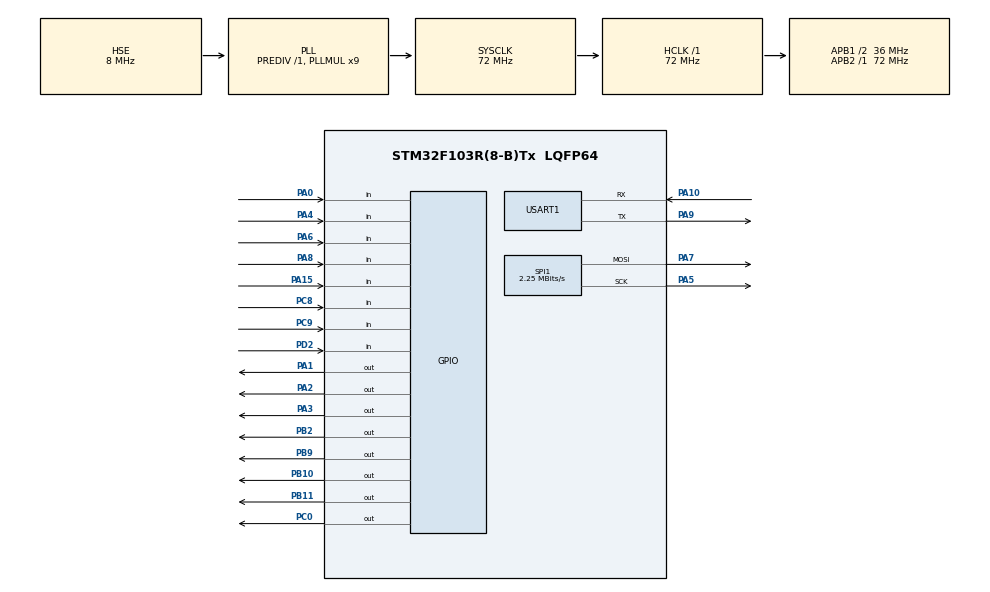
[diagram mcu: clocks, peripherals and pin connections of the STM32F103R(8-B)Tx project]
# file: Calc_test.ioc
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Dma.Request0=SPI1_TX
Dma.SPI1_TX.0.Direction=DMA_MEMORY_TO_PERIPH
Dma.SPI1_TX.0.Instance=DMA1_Channel3
Dma.SPI1_TX.0.MemDataAlignment=DMA_MDATAALIGN_BYTE
Dma.SPI1_TX.0.MemInc=DMA_MINC_ENABLE
Dma.SPI1_TX.0.Mode=DMA_NORMAL
Dma.SPI1_TX.0.PeriphDataAlignment=DMA_PDATAALIGN_BYTE
Dma.SPI1_TX.0.PeriphInc=DMA_PINC_DISABLE
Dma.SPI1_TX.0.Priority=DMA_PRIORITY_LOW
Mcu.Family=STM32F1
Mcu.Name=STM32F103R(8-B)Tx
Mcu.Package=LQFP64
NVIC.DMA1_Channel3_IRQn=true\:0\:0\:false\:false\:true\:false\:true\:true
NVIC.PriorityGroup=NVIC_PRIORITYGROUP_4
NVIC.USART1_IRQn=true\:0\:0\:false\:false\:true\:true\:true\:true
PA0-WKUP.GPIO_PuPd=GPIO_PULLDOWN
PA0-WKUP.Signal=GPIO_Input
PA1.PinState=GPIO_PIN_SET
PA1.Signal=GPIO_Output
PA10.Mode=Asynchronous
PA10.Signal=USART1_RX
PA13.Mode=Serial_Wire
PA13.Signal=SYS_JTMS-SWDIO
PA14.Mode=Serial_Wire
PA14.Signal=SYS_JTCK-SWCLK
PA15.GPIO_PuPd=GPIO_PULLUP
PA15.Signal=GPIO_Input
PA2.PinState=GPIO_PIN_SET
PA2.Signal=GPIO_Output
PA3.PinState=GPIO_PIN_SET
PA3.Signal=GPIO_Output
PA4.GPIO_PuPd=GPIO_PULLUP
PA4.Signal=GPIO_Input
PA5.Mode=TX_Only_Simplex_Unidirect_Master
PA5.Signal=SPI1_SCK
PA6.GPIO_PuPd=GPIO_PULLUP
PA6.Signal=GPIO_Input
PA7.Mode=TX_Only_Simplex_Unidirect_Master
PA7.Signal=SPI1_MOSI
PA8.GPIO_PuPd=GPIO_PULLUP
PA8.Signal=GPIO_Input
PA9.Mode=Asynchronous
PA9.Signal=USART1_TX
PB10.Signal=GPIO_Output
PB11.Signal=GPIO_Output
PB2.PinState=GPIO_PIN_SET
PB2.Signal=GPIO_Output
PB9.Signal=GPIO_Output
PC0.Signal=GPIO_Output
PC14-OSC32_IN.Mode=LSE-External-Oscillator
PC14-OSC32_IN.Signal=RCC_OSC32_IN
PC15-OSC32_OUT.Mode=LSE-External-Oscillator
PC15-OSC32_OUT.Signal=RCC_OSC32_OUT
PC8.GPIO_PuPd=GPIO_PULLUP
PC8.Signal=GPIO_Input
PC9.GPIO_PuPd=GPIO_PULLUP
PC9.Signal=GPIO_Input
PD0-OSC_IN.Mode=HSE-External-Oscillator
PD0-OSC_IN.Signal=RCC_OSC_IN
PD1-OSC_OUT.Mode=HSE-External-Oscillator
PD1-OSC_OUT.Signal=RCC_OSC_OUT
PD2.GPIO_PuPd=GPIO_PULLUP
PD2.Signal=GPIO_Input
ProjectManager.HeapSize=0x200
ProjectManager.StackSize=0x400
ProjectManager.TargetToolchain=MDK-ARM V5.32
RCC.AHBFreq_Value=72000000
RCC.APB1CLKDivider=RCC_HCLK_DIV2
RCC.APB1Freq_Value=36000000
RCC.APB1TimFreq_Value=72000000
RCC.APB2Freq_Value=72000000
RCC.APB2TimFreq_Value=72000000
RCC.HCLKFreq_Value=72000000
RCC.PLLMUL=RCC_PLL_MUL9
RCC.PLLSourceVirtual=RCC_PLLSOURCE_HSE
RCC.SYSCLKFreq_VALUE=72000000
RCC.SYSCLKSource=RCC_SYSCLKSOURCE_PLLCLK
RCC.USBFreq_Value=72000000
SPI1.BaudRatePrescaler=SPI_BAUDRATEPRESCALER_32
SPI1.CalculateBaudRate=2.25 MBits/s
SPI1.Direction=SPI_DIRECTION_2LINES
SPI1.Mode=SPI_MODE_MASTER
SPI1.VirtualType=VM_MASTER
USART1.VirtualMode=VM_ASYNC
board=custom

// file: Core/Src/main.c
/* USER CODE BEGIN Header */
/**
  ******************************************************************************
  * @file           : main.c
  * @brief          : Main program body
  ******************************************************************************
  * @attention
  *
  * Copyright (c) 2023 STMicroelectronics.
  * All rights reserved.
  *
  * This software is licensed under terms that can be found in the LICENSE file
  * in the root directory of this software component.
  * If no LICENSE file comes with this software, it is provided AS-IS.
  *
  ******************************************************************************
  */
/* USER CODE END Header */
#include "main.h"
#include "dma.h"
#include "spi.h"
#include "usart.h"
#include "gpio.h"

/* USER CODE BEGIN Includes */
//PA0-3:line of the keyboard
//PA4,6,8,15:lie of the keyboard
//PA5 SCK
//PA7 SDK
//PB10,11,12:RES,DC,CS
#include "calc.h"
#include "value.h"
#include "keyboard.h"
#include "oled.h"
#include "gui.h"
#include "u8g2.h"
#include "u8x8.h"
#include<stdbool.h>
//UART_HandleTypeDef huart1;

int x=0,x_trg=64,y=10,y_trg=10;
int f_len,f_len_trg,f_y=10,f_y_trg,f_x=0,f_x_trg,f_h,f_h_trg;
int ui_func_select=0;
int ui_menu_select=0;
int menu_x=0,menu_y=20,menu_x_trg=0,menu_y_trg=20;
int equa_x=0,equa_x_trg=64,equa_y=10,equa_y_trg=10;
int ui_equa_select=0;
int equa_2_select=0,equa_3_select=0,equa_4_select=0;
int ef_x=0,ef_y=10,ef_y_trg,ef_x_trg,ef_len,ef_len_trg,ef_h,ef_h_trg;
int idx=0;
int key_state=0;
int def_select=0;
List list[] = {
	{"sinx",4},
	{"cosx",4},
	{"tanx",4},
	{"arcsinx",7},
	{"arccosx",7},
	{"arctanx",7},
	{"log",3},
	{"ln",2},
	{"e^x",3},
	{"a^x",3},
};
Key key[2];
Key_msg key_msg;
int state=0;
Menu menu[5]={
	{"Calculation",11},
	{"Function",8},
	{"Equation",8},
	{"Complex",7},
	{"Definite",8}
};
List equalist[]={
{"quadratic",9},
{"cubic",5},
{"quartic",7},
{"solve",5}
};

#include <stdio.h>
/**
  * 函数功能: 重定向c库函数printf到DEBUG_USARTx
  * 输入参数: 无
  * 返 回 值: 无
  * 说    明：无
  */
int fputc(int ch, FILE *f)
{
  HAL_UART_Transmit(&huart1, (uint8_t *)&ch, 1, 0xffff);
  return ch;
}

/**
  * 函数功能: 重定向c库函数getchar,scanf到DEBUG_USARTx
  * 输入参数: 无
  * 返 回 值: 无
  * 说    明：无
  */
int fgetc(FILE *f)
{
  uint8_t ch = 0;
  HAL_UART_Receive(&huart1, &ch, 1, 0xffff);
  return ch;
}
#define RXBUFFERSIZE  256
char RxBuffer[RXBUFFERSIZE];
uint8_t aRxBuffer;
uint8_t Uart1_Rx_Cnt = 0;
/* USER CODE END Includes */

void SystemClock_Config(void);

int main(void)
{

  /* MCU Configuration--------------------------------------------------------*/

  /* Reset of all peripherals, Initializes the Flash interface and the Systick. */
  HAL_Init();

  /* Configure the system clock */
  SystemClock_Config();

  /* Initialize all configured peripherals */
  MX_GPIO_Init();
  MX_DMA_Init();
  MX_USART1_UART_Init();
  MX_SPI1_Init();
  /* USER CODE BEGIN 2 */
	//HAL_UART_Receive_IT(&huart1, (uint8_t *) &aRxBuffer, 1);
//char str[100];

	//char ch[100];
	printf("nmsl");
  //HAL_UART_Transmit(&huart1, (uint8_t *)"7",1,0xFFFF);
	//OLED_ShowNum(50,3,23,2,16);
	//printf("nmsl");

	u8g2_t u8g2; // 显示器初始化结构体
  HAL_GPIO_WritePin(GPIOB,GPIO_PIN_10,GPIO_PIN_SET); //复位拉高
  u8g2Init(&u8g2);  //显示器调用初始化函数
	u8g2_SetFont(&u8g2, u8g2_font_6x12_tf);
	u8g2_ClearBuffer(&u8g2);
	key_init();
	f_len=f_len_trg=list[ui_func_select].cnt*8;
	ef_len=ef_len_trg=list[ui_equa_select].cnt*8;

	//OLED_ShowString(0,3,str);

  /* USER CODE END 2 */

  /* Infinite loop */
  /* USER CODE BEGIN WHILE */
  while (1)
  {

		u8g2_FirstPage(&u8g2);
       do
       {
				 switch(idx){
						 case 0:{
								show_main_menu(&u8g2);
								break;
						 }
						 case 1:{
							 show_calc_menu(&u8g2);
									break;
						 }
						 case 2:{
								show_func_menu(&u8g2);
							 //u8g2_DrawStr(&u8g2,64,50,"nmsl");
								break;
						 }
						 case 20:{
								show_sub0_menu(&u8g2);
							 break;
						 }
						 case 21:{
								show_sub1_menu(&u8g2);
							 break;
						 }
						 case 22:{
								show_sub2_menu(&u8g2);
							 break;
						 }
						 case 23:{
								show_sub3_menu(&u8g2);
							 break;
						 }
						 case 24:{
								show_sub4_menu(&u8g2);
							 break;
						 }
						 case 25:{
								show_sub5_menu(&u8g2);
							 break;
						 }
						 case 26:{
								show_sub6_menu(&u8g2);
							 break;
						 }
						 case 27:{
								show_sub7_menu(&u8g2);
							 break;
						 }
						 case 28:{
								show_sub8_menu(&u8g2);
							 break;
						 }
						 case 29:{
								show_sub9_menu(&u8g2);
							 break;
						 }
						 case 3:{
								show_equa_menu(&u8g2);
							 break;
						 }
						 case 32:{
									show_quad_calc(&u8g2);
							 break;
						 }
						 case 33:{
									show_cub_calc(&u8g2);
							 break;
						 }
						 case 34:{
									show_quar_calc(&u8g2);
							 break;
						 }
						 case 35:{
									show_func_solu(&u8g2);
							 break;
						 }
						 case 4:{
									show_comp_calc(&u8g2);
							 break;
						 }
						 case 5:{
									show_def_solu(&u8g2);
							 break;
						 }
				 }

       } while (u8g2_NextPage(&u8g2));

    /* USER CODE END WHILE */

  }
}

void SystemClock_Config(void)
{
  RCC_OscInitTypeDef RCC_OscInitStruct = {0};
  RCC_ClkInitTypeDef RCC_ClkInitStruct = {0};

  /** Initializes the RCC Oscillators according to the specified parameters
  * in the RCC_OscInitTypeDef structure.
  */
  RCC_OscInitStruct.OscillatorType = RCC_OSCILLATORTYPE_HSE;
  RCC_OscInitStruct.HSEState = RCC_HSE_ON;
  RCC_OscInitStruct.HSEPredivValue = RCC_HSE_PREDIV_DIV1;
  RCC_OscInitStruct.HSIState = RCC_HSI_ON;
  RCC_OscInitStruct.PLL.PLLState = RCC_PLL_ON;
  RCC_OscInitStruct.PLL.PLLSource = RCC_PLLSOURCE_HSE;
  RCC_OscInitStruct.PLL.PLLMUL = RCC_PLL_MUL9;
  if (HAL_RCC_OscConfig(&RCC_OscInitStruct) != HAL_OK)
  {
    Error_Handler();
  }

  /** Initializes the CPU, AHB and APB buses clocks
  */
  RCC_ClkInitStruct.ClockType = RCC_CLOCKTYPE_HCLK|RCC_CLOCKTYPE_SYSCLK
                              |RCC_CLOCKTYPE_PCLK1|RCC_CLOCKTYPE_PCLK2;
  RCC_ClkInitStruct.SYSCLKSource = RCC_SYSCLKSOURCE_PLLCLK;
  RCC_ClkInitStruct.AHBCLKDivider = RCC_SYSCLK_DIV1;
  RCC_ClkInitStruct.APB1CLKDivider = RCC_HCLK_DIV2;
  RCC_ClkInitStruct.APB2CLKDivider = RCC_HCLK_DIV1;

  if (HAL_RCC_ClockConfig(&RCC_ClkInitStruct, FLASH_LATENCY_2) != HAL_OK)
  {
    Error_Handler();
  }
}

void Error_Handler(void)
{
  __disable_irq();
  while (1)
  {
  }
}
